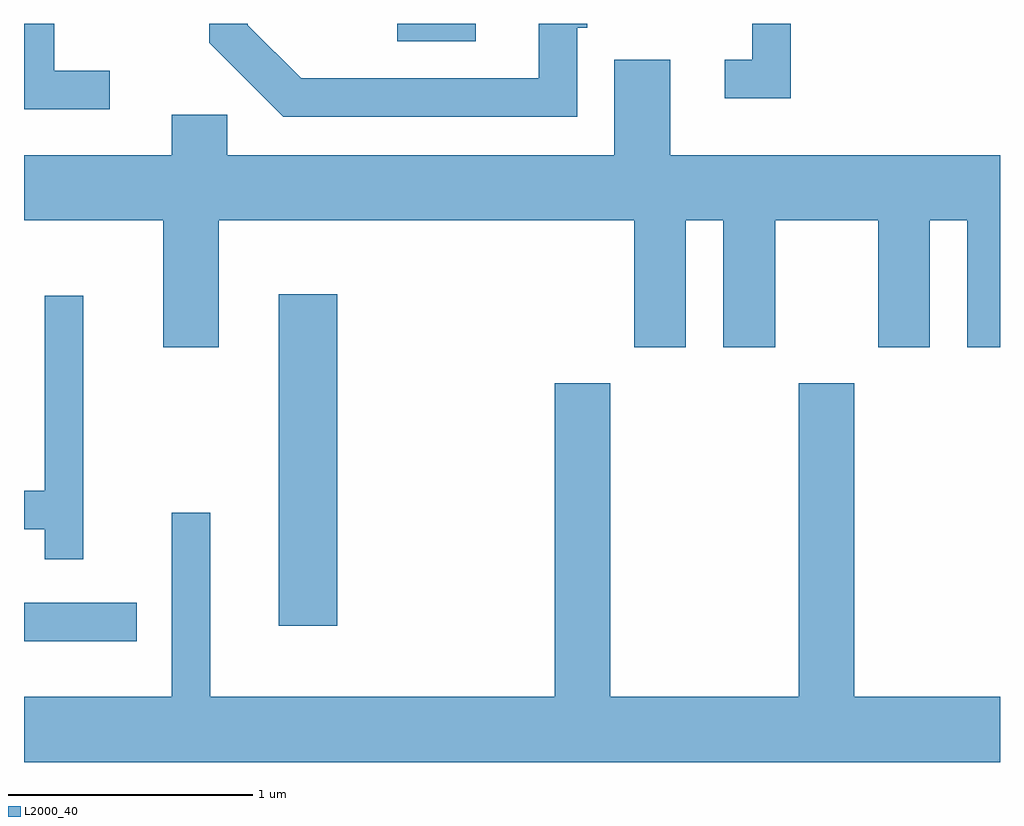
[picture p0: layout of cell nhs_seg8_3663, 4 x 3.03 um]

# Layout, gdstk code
import gdstk
lib = gdstk.Library(unit=1e-6, precision=1e-09)
def R(c, l, rs):  # rectangles x0, y0, x1, y1
    for r in rs: c.add(gdstk.rectangle(r[:2], r[2:], *l))
def P(c, l, *ps):  # polygons
    for p in ps: c.add(gdstk.Polygon(p, *l))
L2000_40 = (2000, 40)

nhs_seg8_3663 = lib.new_cell('nhs_seg8_3663')
R(nhs_seg8_3663, L2000_40, [(295.611,1825.811,296.073,1825.969), (296.656,1825.876,296.894,1827.234), (297.141,1828.271,297.463,1828.342)])
P(nhs_seg8_3663, L2000_40, [(298.754,1828.342),(298.596,1828.342),(298.596,1828.194),(298.483,1828.194),(298.483,1828.036),(298.754,1828.036)],
  [(297.879,1828.326),(297.919,1828.326),(297.919,1828.342),(297.721,1828.342),(297.721,1828.119),(296.747,1828.119),(296.529,1828.337),(296.529,1828.342),(296.371,1828.342),(296.371,1828.264),(296.674,1827.961),(297.879,1827.961)],
  [(295.963,1828.149),(295.734,1828.149),(295.734,1828.342),(295.611,1828.342),(295.611,1827.991),(295.963,1827.991)],
  [(296.409,1827.536),(298.111,1827.536),(298.111,1827.016),(298.324,1827.016),(298.324,1827.536),(298.476,1827.536),(298.476,1827.016),(298.689,1827.016),(298.689,1827.536),(299.111,1827.536),(299.111,1827.016),(299.324,1827.016),(299.324,1827.536),(299.476,1827.536),(299.476,1827.016),(299.611,1827.016),(299.611,1827.804),(298.259,1827.804),(298.259,1828.194),(298.031,1828.194),(298.031,1827.804),(296.444,1827.804),(296.444,1827.969),(296.216,1827.969),(296.216,1827.804),(295.611,1827.804),(295.611,1827.536),(296.181,1827.536),(296.181,1827.016),(296.409,1827.016)],
  [(295.854,1827.228),(295.696,1827.228),(295.696,1826.429),(295.611,1826.429),(295.611,1826.271),(295.696,1826.271),(295.696,1826.148),(295.854,1826.148)],
  [(299.611,1825.584),(299.014,1825.584),(299.014,1826.869),(298.786,1826.869),(298.786,1825.584),(298.014,1825.584),(298.014,1826.869),(297.786,1826.869),(297.786,1825.584),(296.374,1825.584),(296.374,1826.338),(296.216,1826.338),(296.216,1825.584),(295.611,1825.584),(295.611,1825.316),(299.611,1825.316)])

lib.write_gds('nhs_seg8_3663.gds')
